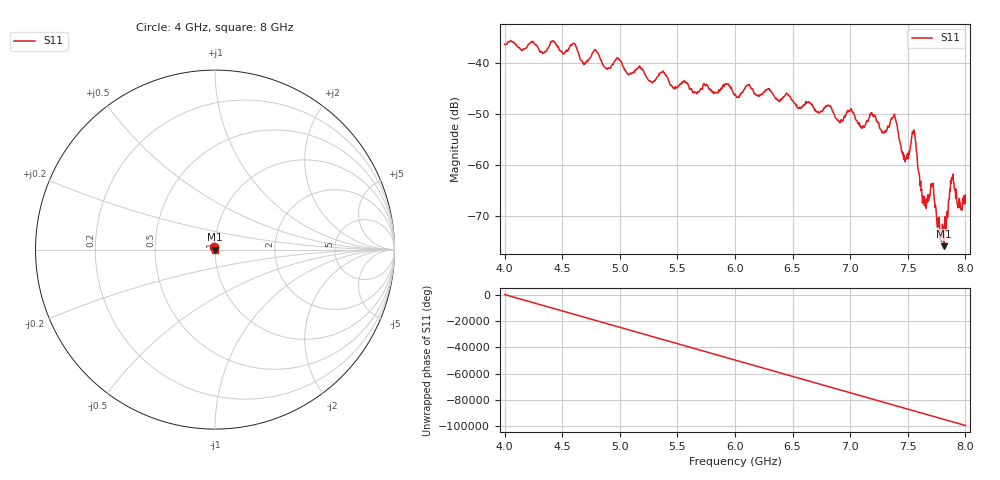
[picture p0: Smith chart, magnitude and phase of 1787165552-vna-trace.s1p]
! Created with skrf 1.10.0 (http://scikit-rf.org).
# Hz S RI R 50.0
!freq ReS11 ImS11
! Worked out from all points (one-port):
!   1001 points, 4 GHz to 8 GHz, reference 50 ohm
!   lowest |S11| = -75.9 dB at 7.812 GHz (marker M1), VSWR 1.00, Z = 50 - j0.00878 ohm
!   |S11| at or under -10 dB: start of sweep to end of sweep
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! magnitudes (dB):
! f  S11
! 4 GHz  -36.4
! 4.5 GHz  -38.0
! 4.604 GHz  -36.3
! 4.692 GHz  -40.3
! 4.792 GHz  -37.6
! 4.896 GHz  -41.1
! 5 GHz  -39.5
! 5.5 GHz  -44.8
! 6 GHz  -46.2
! 6.112 GHz  -44.5
! 6.5 GHz  -47.4
! 6.816 GHz  -48.5
! 6.912 GHz  -51.8
! 7 GHz  -49.4
! 7.104 GHz  -52.8
! 7.2 GHz  -50.4
! 7.292 GHz  -53.8
! 7.38 GHz  -50.5
! 7.46 GHz  -57.7
! 7.5 GHz  -58.3
! 7.552 GHz  -53.2
! 7.64 GHz  -66.1
! 7.712 GHz  -64.3
! 7.772 GHz  -70.2
! 7.812 GHz  -75.9
! 7.884 GHz  -62.9
! 7.952 GHz  -68.3
! 8 GHz  -65.9
